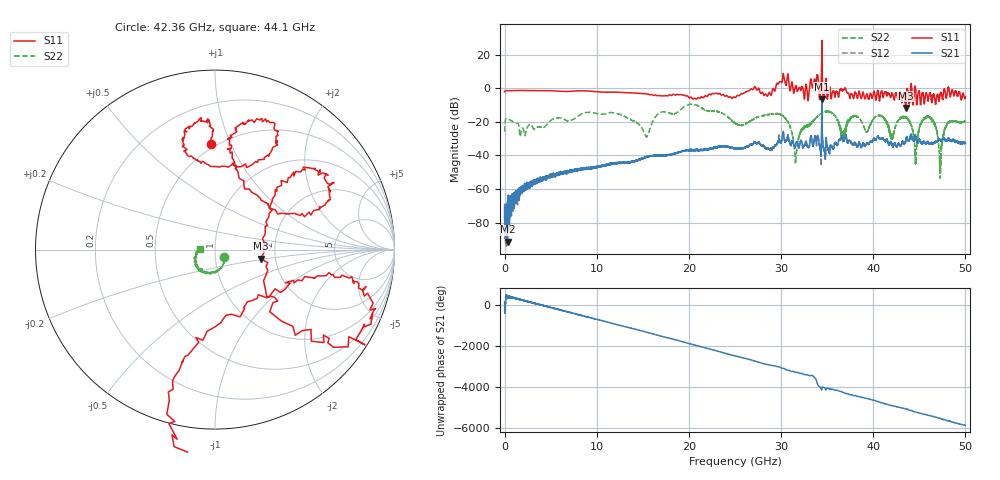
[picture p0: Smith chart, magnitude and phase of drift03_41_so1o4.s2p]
!Created with skrf (http://scikit-rf.org).
# Hz S RI R 50.0
!freq ReS11 ImS11 ReS21 ImS21 ReS12 ImS12 ReS22 ImS22
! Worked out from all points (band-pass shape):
!   10000 points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, 5.3 MHz to 50 GHz, reference 50 ohm
!   highest |S21| = -6.63 dB at 34.43 GHz (marker M1); lowest = -91.4 dB at 320.3 MHz (marker M2)
!   |S21| within 3 dB of the highest: 34.42749 GHz to 34.43507 GHz (7.576 MHz wide, 0.022 % of centre)
!   lowest |S11| = -11.7 dB at 43.53 GHz (marker M3), VSWR 1.70, Z = 83.7 - j8.99 ohm
!   |S11| at or under -10 dB: 43.49208 GHz to 43.54507 GHz (52.99 MHz wide, 0.122 % of centre)
!   |S22| runs from -53.7 to -9.4 dB; largest |S21 - S12| = 0.13
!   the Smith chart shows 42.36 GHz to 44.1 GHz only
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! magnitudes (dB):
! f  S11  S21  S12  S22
! 5.3 MHz  -2.1  -71.4  -68.6  -25.9
! 320.3 MHz  -1.4  -91.4  -75.0  -18.1
! 2.435 GHz  -1.4  -58.5  -57.6  -23.7
! 8.34 GHz  -1.5  -48.3  -48.2  -15.3
! 15.39 GHz  -3.4  -40.8  -40.6  -28.9
! 16.67 GHz  -4.4  -40.0  -40.0  -15.3
! 20.47 GHz  -6.5  -36.7  -37.1  -9.6
! 25.01 GHz  -5.5  -35.8  -36.0  -20.8
! 29.93 GHz  4.0  -32.8  -31.7  -15.6
! 31.59 GHz  1.4  -33.8  -34.0  -44.3
! 33.34 GHz  2.6  -30.1  -30.6  -20.4
! 34.43 GHz  28.5  -6.6  -8.6  -14.6
! 36.69 GHz  -1.4  -29.8  -29.6  -31.4
! 37.95 GHz  -4.0  -32.8  -32.8  -16.5
! 41.67 GHz  -3.0  -33.2  -33.5  -23.4
! 43.53 GHz  -11.7  -31.2  -31.2  -17.3
! 44.61 GHz  -1.5  -29.0  -29.1  -41.2
! 45.3 GHz  -3.3  -33.4  -33.3  -20.2
! 46.28 GHz  -5.5  -32.5  -32.7  -17.3
! 47.29 GHz  -2.9  -30.8  -30.9  -46.0
! 48.12 GHz  0.4  -30.2  -30.3  -20.9
! 50 GHz  -5.3  -32.5  -32.7  -19.6
